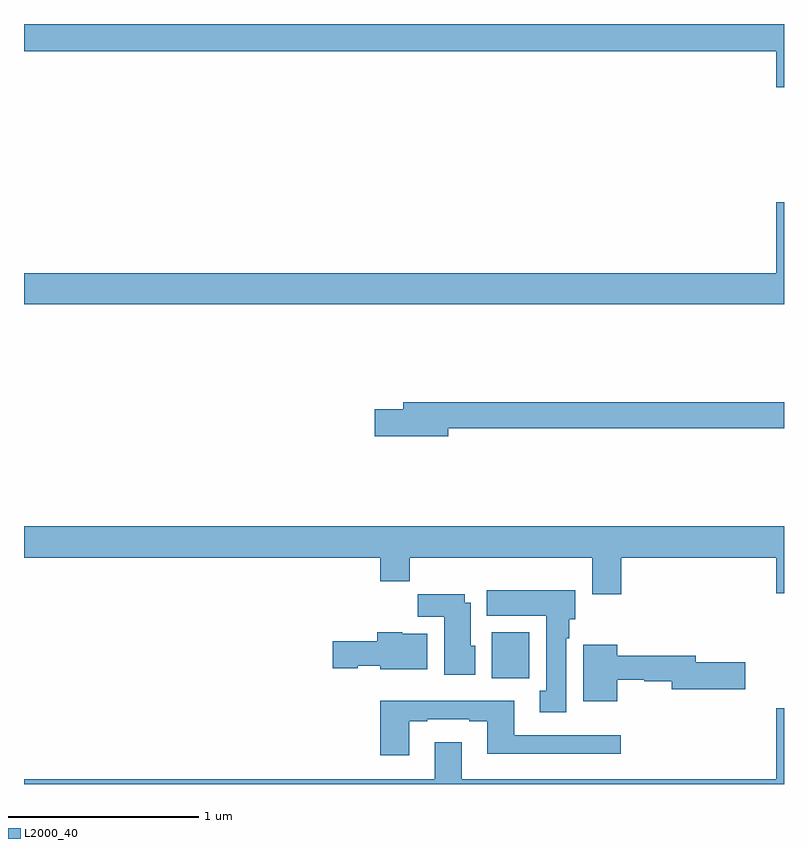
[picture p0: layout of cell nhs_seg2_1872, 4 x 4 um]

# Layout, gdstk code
import gdstk
lib = gdstk.Library(unit=1e-6, precision=1e-09)
def R(c, l, rs):  # rectangles x0, y0, x1, y1
    for r in rs: c.add(gdstk.rectangle(r[:2], r[2:], *l))
def P(c, l, *ps):  # polygons
    for p in ps: c.add(gdstk.Polygon(p, *l))
L2000_40 = (2000, 40)

nhs_seg2_1872 = lib.new_cell('nhs_seg2_1872')
R(nhs_seg2_1872, L2000_40, [(211.463,624.356,211.66,624.598)])
P(nhs_seg2_1872, L2000_40, [(213,627.8),(209,627.8),(209,627.656),(212.96,627.656),(212.96,627.468),(213,627.468)],
  [(213,626.863),(212.96,626.863),(212.96,626.488),(209,626.488),(209,626.324),(213,626.324)],
  [(211.234,625.672),(213,625.672),(213,625.808),(210.995,625.808),(210.995,625.772),(210.846,625.772),(210.846,625.63),(211.234,625.63)],
  [(212.144,624.992),(212.96,624.992),(212.96,624.804),(213,624.804),(213,625.156),(209,625.156),(209,624.992),(210.875,624.992),(210.875,624.868),(211.031,624.868),(211.031,624.992),(211.991,624.992),(211.991,624.798),(212.144,624.798)],
  [(211.855,624.566),(211.87,624.566),(211.87,624.666),(211.9,624.666),(211.9,624.82),(211.436,624.82),(211.436,624.686),(211.748,624.686),(211.748,624.29),(211.715,624.29),(211.715,624.177),(211.855,624.177)],
  [(211.375,624.528),(211.351,624.528),(211.351,624.754),(211.321,624.754),(211.321,624.799),(211.072,624.799),(211.072,624.68),(211.211,624.68),(211.211,624.374),(211.375,624.374)],
  [(211.123,624.592),(210.99,624.592),(210.99,624.598),(210.86,624.598),(210.86,624.552),(210.624,624.552),(210.624,624.41),(210.756,624.41),(210.756,624.422),(210.876,624.422),(210.876,624.404),(211.123,624.404)],
  [(212.122,624.348),(212.265,624.348),(212.265,624.34),(212.408,624.34),(212.408,624.298),(212.797,624.298),(212.797,624.44),(212.536,624.44),(212.536,624.476),(212.122,624.476),(212.122,624.532),(211.943,624.532),(211.943,624.236),(212.122,624.236)],
  [(211.027,624.129),(211.123,624.129),(211.123,624.141),(211.343,624.141),(211.343,624.129),(211.439,624.129),(211.439,623.96),(212.14,623.96),(212.14,624.057),(211.579,624.057),(211.579,624.238),(210.875,624.238),(210.875,623.952),(211.027,623.952)],
  [(213,624.199),(212.96,624.199),(212.96,623.824),(211.303,623.824),(211.303,624.019),(211.163,624.019),(211.163,623.824),(209,623.824),(209,623.8),(213,623.8)])

lib.write_gds('nhs_seg2_1872.gds')
